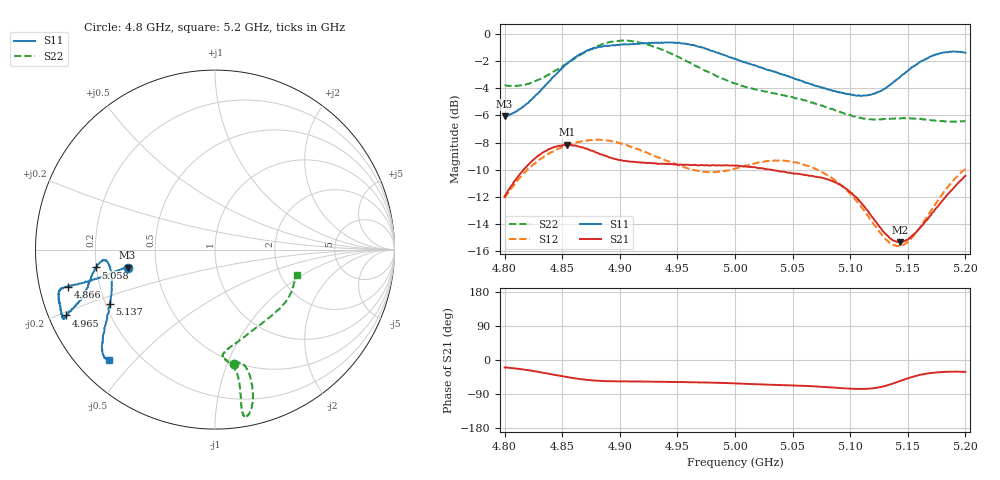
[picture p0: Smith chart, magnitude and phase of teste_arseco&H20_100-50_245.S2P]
! Network Analyzer HP8722D
! Hewlett-Packard
! Data name: Linha & Wilkinson
! Saver's name: Rodrigo Anjos
! Comments: Teste da utilização de aquisição
! continua pelo VNA HP8722D
! Time and date: 6/5/2025 14:36
!  Frequency  S11  S21  S12  S22
# HZ  S  MA R 50
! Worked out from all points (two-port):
!   401 points, 4.8 GHz to 5.2 GHz, reference 50 ohm
!   highest |S21| = -8.16 dB at 4.854 GHz (marker M1); lowest = -15.3 dB at 5.143 GHz (marker M2)
!   |S21| within 3 dB of the highest: 4.806 GHz to 5.092 GHz (286.3 MHz wide, 5.78 % of centre); 5.191656 GHz to end of sweep
!   lowest |S11| = -6.1 dB at 4.8 GHz (marker M3), VSWR 2.98, Z = 16.9 - j4.56 ohm
!   |S11| at or under -10 dB: nowhere
!   |S22| runs from -6.5 to -0.5 dB; largest |S21 - S12| = 0.62
!   S11 on the Smith chart (normalised r, x): 4.8 GHz: 0.34, -0.09; 4.866 GHz: 0.09, -0.12; 4.965 GHz: 0.05, -0.21; 5.058 GHz: 0.20, -0.07; 5.137 GHz: 0.22, -0.23; 5.2 GHz: 0.09, -0.42
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4.8e9  0.4972 -168.2  0.252 -19.8  0.249 -140.9  0.6475 -80.4
4.826e9  0.588 -167.3  0.347 -29.7  0.3328 -144.6  0.6687 -75.6
4.854e9  0.7772 -165.9  0.3908 -45.1  0.3885 -149.9  0.7784 -74.7
4.866e9  0.8445 -165.9  0.3824 -50.3  0.402 -151.9  0.8374 -75.3
4.867e9  0.847 -165.9  0.3832 -51.0  0.4026 -152.1  0.843 -75.5
4.88e9  0.8891 -165.6  0.3654 -54.6  0.4081 -154.2  0.8991 -76.7
4.902e9  0.9135 -162.4  0.3423 -56.4  0.3941 -156.9  0.9443 -79.4
4.934e9  0.9284 -156.5  0.3326 -57.5  0.3508 -155.7  0.8835 -80.4
4.965e9  0.9066 -156.1  0.3304 -59.0  0.3154 -148.6  0.766 -79.7
5e9  0.8104 -159.1  0.3273 -61.8  0.3197 -137.3  0.6564 -81.3
5.032e9  0.7302 -164.8  0.3157 -65.7  0.3412 -134.2  0.6068 -85.4
5.058e9  0.6712 -171.5  0.3039 -68.0  0.3317 -136.1  0.5742 -84.5
5.067e9  0.6512 -173.2  0.3003 -69.2  0.3235 -136.8  0.5591 -82.6
5.086e9  0.6161 -174.5  0.2855 -72.8  0.291 -138.4  0.5257 -75.3
5.104e9  0.5945 -171.0  0.2528 -76.1  0.2473 -138.6  0.4965 -64.6
5.116e9  0.5967 -165.5  0.2212 -75.9  0.2126 -135.5  0.4853 -55.8
5.134e9  0.6469 -154.3  0.1781 -65.2  0.1706 -120.7  0.4869 -43.3
5.137e9  0.6603 -152.5  0.1741 -62.4  0.1677 -116.9  0.4876 -41.5
5.143e9  0.6916 -149.2  0.1715 -55.8  0.1658 -108.9  0.4881 -37.9
5.154e9  0.7568 -144.6  0.1813 -44.3  0.179 -95.0  0.4881 -32.3
5.174e9  0.8389 -138.6  0.2268 -32.8  0.2364 -80.4  0.479 -23.9
5.2e9  0.8524 -133.7  0.3006 -31.4  0.3189 -76.9  0.4778 -17.5
